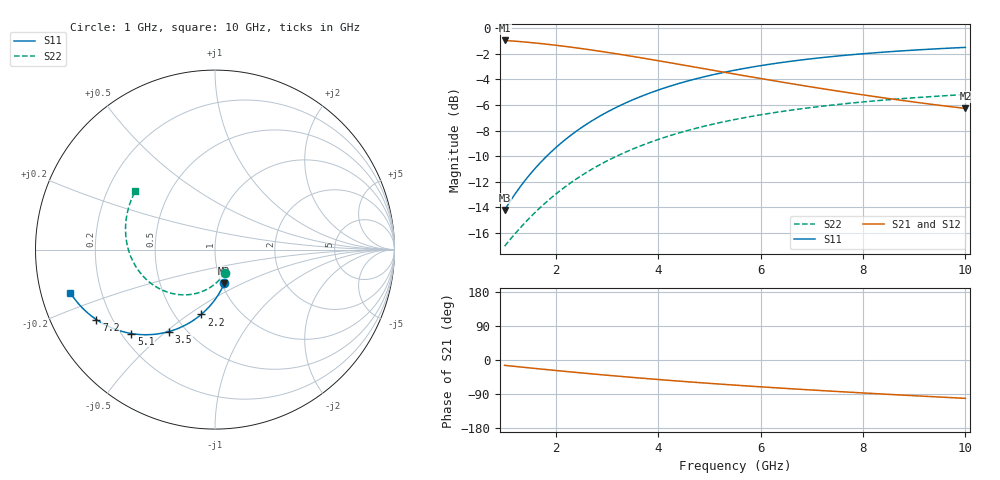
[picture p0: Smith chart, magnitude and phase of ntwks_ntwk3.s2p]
! Source: https://github.com/scikit-rf/scikit-rf/blob/950534a5928d5c99e3fea2beaec7d82519800b0c/skrf/tests/ntwks/ntwk3.s2p
! License: BSD-3-Clause
! Created Thu Nov 11 11:19:04 2010
# ghz S ri R 50
! 2 Port Network Data from SP1.SP block
! freq  reS11  imS11  reS21  imS21  reS12  imS12  reS22  imS22
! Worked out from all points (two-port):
!   91 points, 1 GHz to 10 GHz, reference 50 ohm
!   highest |S21| = -0.96 dB at 1 GHz (marker M1); lowest = -6.3 dB at 10 GHz (marker M2)
!   |S21| within 3 dB of the highest: start of sweep to 6.043 GHz
!   lowest |S11| = -14.2 dB at 1 GHz (marker M3), VSWR 1.48, Z = 51.5 - j20.1 ohm
!   |S11| at or under -10 dB: start of sweep to 1.821 GHz
!   |S22| runs from -17.0 to -5.2 dB; largest |S21 - S12| = 0
!   S11 on the Smith chart (normalised r, x): 1 GHz: 1.03, -0.40; 2.2 GHz: 0.67, -0.56; 3.5 GHz: 0.40, -0.51; 5.1 GHz: 0.24, -0.40; 7.2 GHz: 0.14, -0.27; 10 GHz: 0.09, -0.15
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1  0.052 -0.1879  0.8681 -0.2188  0.8681 -0.2188  0.0535 -0.1304
1.1  0.0441 -0.2051  0.8598 -0.239  0.8598 -0.239  0.046 -0.1417
1.3  0.0265 -0.2382  0.8413 -0.2781  0.8413 -0.2781  0.0292 -0.1631
1.6  -0.00398 -0.2841  0.8091 -0.3329  0.8091 -0.3329  0.000248 -0.1912
1.9  -0.0387 -0.3252  0.7724 -0.3827  0.7724 -0.3827  -0.0324 -0.2143
2.2  -0.0767 -0.3611  0.7323 -0.4272  0.7323 -0.4272  -0.0678 -0.2319
2.5  -0.117 -0.3918  0.6896 -0.4661  0.6896 -0.4661  -0.105 -0.244
3  -0.1871 -0.4312  0.615 -0.5189  0.615 -0.5189  -0.1683 -0.2521
3.5  -0.2581 -0.4569  0.5393 -0.5575  0.5393 -0.5575  -0.2304 -0.2461
4  -0.3273 -0.4706  0.465 -0.5836  0.465 -0.5836  -0.2885 -0.2279
4.5  -0.3929 -0.4742  0.394 -0.5991  0.394 -0.5991  -0.3406 -0.1995
5.1  -0.4656 -0.4677  0.3147 -0.6064  0.3147 -0.6064  -0.3938 -0.155
5.5  -0.5098 -0.4582  0.2658 -0.6059  0.2658 -0.6059  -0.4232 -0.1206
5.8  -0.5408 -0.449  0.2312 -0.6032  0.2312 -0.6032  -0.4419 -0.0929
6.2  -0.5792 -0.4343  0.188 -0.5972  0.188 -0.5972  -0.4626 -0.0541
6.6  -0.6143 -0.4176  0.1478 -0.5889  0.1478 -0.5889  -0.4784 -0.0138
7  -0.6463 -0.3992  0.1106 -0.5788  0.1106 -0.5788  -0.4895 0.0274
7.2  -0.6612 -0.3895  0.0931 -0.5732  0.0931 -0.5732  -0.4934 0.0482
7.8  -0.7016 -0.3592  0.0444 -0.5547  0.0444 -0.5547  -0.4984 0.1106
8.5  -0.7417 -0.322  -0.00592 -0.5311  -0.00592 -0.5311  -0.4928 0.1825
9.2  -0.7749 -0.2842  -0.0501 -0.5061  -0.0501 -0.5061  -0.4758 0.2517
10  -0.8058 -0.2409  -0.0945 -0.4767  -0.0945 -0.4767  -0.4436 0.3261
